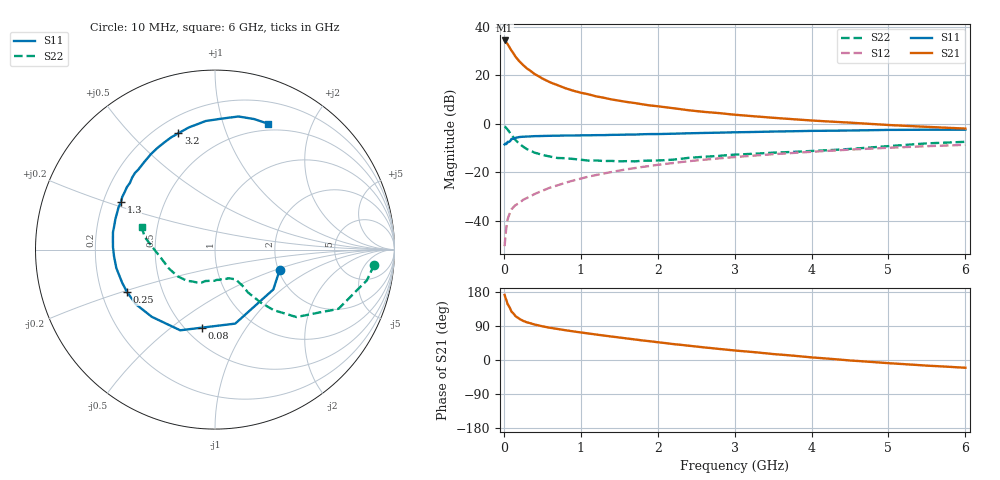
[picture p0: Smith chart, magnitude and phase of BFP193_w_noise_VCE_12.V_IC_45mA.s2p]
! Infineon Technologies  Discrete & RF Semiconductors
! BFP193
! VCE =  12. V,  IC =  45 mA
! Common Emitter S-Parameters:  Jan 2017
# GHz  S  MA  R  50
!  f  S11  S21  S12  S22
! GHz  MAG  ANG  MAG  ANG  MAG  ANG  MAG  ANG
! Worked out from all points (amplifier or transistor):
!   77 points, 10 MHz to 6 GHz, reference 50 ohm
!   highest |S21| = 34.4 dB at 10 MHz (marker M1)
!   |S21| within 3 dB of that: start of sweep to 76.8 MHz
!   unconditionally stable (mu >= 1): 638.5 MHz to 2.601 GHz
!   at 130 MHz: K = 0.53, MSG = 31.5 dB, |S12| = -34.2 dB
!   at 2.2 GHz: K = 1.02, MAG = 10.4 dB, |S12| = -16.1 dB
!   at 6 GHz: K = 0.90, MSG = 3.3 dB, |S12| = -8.6 dB
!   lowest NFmin = 1.45 dB at 450 MHz
!   S11 on the Smith chart (normalised r, x): 10 MHz: 2.04, -0.53; 80 MHz: 0.60, -0.65; 250 MHz: 0.31, -0.21; 1.3 GHz: 0.27, +0.22; 3.2 GHz: 0.29, +0.69; 6 GHz: 0.43, +1.42
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0.01  0.3777 -17.2  52.75 171.8  0.003 51.2  0.8908 -5.4
0.02  0.3936 -34.3  51.76 165.0  0.0047 65.4  0.8638 -11.4
0.05  0.4274 -74.7  44.06 146.9  0.0108 60.3  0.763 -25.6
0.08  0.4405 -99.3  36.61 136.7  0.0147 58.5  0.654 -33.1
0.1  0.4896 -113.3  32.53 127.5  0.0173 57.7  0.5894 -39.6
0.15  0.5142 -133.3  24.63 116.1  0.021 53.7  0.4676 -46.0
0.2  0.5358 -145.4  19.69 108.9  0.0233 53.1  0.3916 -49.1
0.25  0.5441 -154.2  16.43 103.3  0.0271 54.8  0.3403 -50.8
0.3  0.5492 -160.4  13.96 99.4  0.0296 55.7  0.3014 -52.4
0.4  0.5593 -169.4  10.69 93.5  0.0357 58.8  0.2554 -52.7
0.5  0.5637 -176.1  8.66 88.9  0.0417 60.7  0.2294 -53.8
0.6  0.5686 178.6  7.231 85.1  0.0484 62.2  0.212 -54.6
0.8  0.5767 170.3  5.456 78.6  0.0611 64.6  0.1962 -57.0
1.1  0.5823 159.9  4.084 70.0  0.0819 63.9  0.1747 -65.7
1.3  0.5871 153.3  3.466 64.5  0.0949 63.0  0.1714 -71.6
1.6  0.6018 144.7  2.836 56.8  0.1158 61.0  0.1705 -82.1
2.1  0.6223 131.1  2.211 44.6  0.1494 56.1  0.179 -102.9
3.1  0.6752 109.3  1.503 23.4  0.2127 45.0  0.2362 -134.1
3.2  0.6794 107.5  1.46 21.7  0.2187 43.9  0.2403 -136.8
4.1  0.7201 92.6  1.152 5.4  0.2714 33.9  0.2811 -160.4
5.1  0.7535 78.7  0.933 -9.6  0.3269 22.4  0.3575 176.1
6  0.7612 67.2  0.801 -20.5  0.3704 12.1  0.4274 163.2
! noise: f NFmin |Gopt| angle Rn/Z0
0.45  1.45  0.4  -171  0.08
0.9  1.49  0.43  -165  0.08
1.9  2.13  0.59  -134  0.21
2.4  2.45  0.63  -119  0.45
